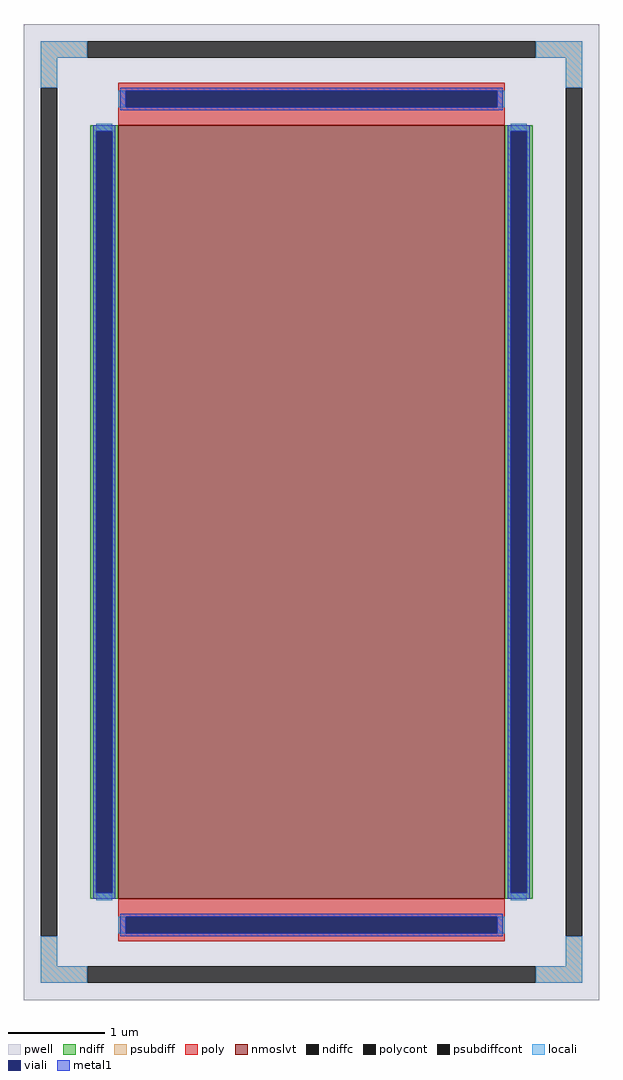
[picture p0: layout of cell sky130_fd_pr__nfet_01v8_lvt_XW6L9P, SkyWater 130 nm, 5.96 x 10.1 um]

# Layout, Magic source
magic
tech sky130A
<< pwell >>
rect -298 -505 298 505
<< nmoslvt >>
rect -200 -400 200 400
<< ndiff >>
rect -229 394 -200 400
rect -229 -394 -223 394
rect -206 -394 -200 394
rect -229 -400 -200 -394
rect 200 394 229 400
rect 200 -394 206 394
rect 223 -394 229 394
rect 200 -400 229 -394
<< ndiffc >>
rect -223 -394 -206 394
rect 206 -394 223 394
<< psubdiff >>
rect -280 470 -232 487
rect 232 470 280 487
rect -280 439 -263 470
rect 263 439 280 470
rect -280 -470 -263 -439
rect 263 -470 280 -439
rect -280 -487 -232 -470
rect 232 -487 280 -470
<< psubdiffcont >>
rect -232 470 232 487
rect -280 -439 -263 439
rect 263 -439 280 439
rect -232 -487 232 -470
<< poly >>
rect -200 436 200 444
rect -200 419 -192 436
rect 192 419 200 436
rect -200 400 200 419
rect -200 -419 200 -400
rect -200 -436 -192 -419
rect 192 -436 200 -419
rect -200 -444 200 -436
<< polycont >>
rect -192 419 192 436
rect -192 -436 192 -419
<< locali >>
rect -280 470 -232 487
rect 232 470 280 487
rect -280 439 -263 470
rect 263 439 280 470
rect -200 419 -192 436
rect 192 419 200 436
rect -223 394 -206 402
rect -223 -402 -206 -394
rect 206 394 223 402
rect 206 -402 223 -394
rect -200 -436 -192 -419
rect 192 -436 200 -419
rect -280 -470 -263 -439
rect 263 -470 280 -439
rect -280 -487 -232 -470
rect 232 -487 280 -470
<< viali >>
rect -192 419 192 436
rect -223 -394 -206 394
rect 206 -394 223 394
rect -192 -436 192 -419
<< metal1 >>
rect -198 436 198 439
rect -198 419 -192 436
rect 192 419 198 436
rect -198 416 198 419
rect -226 394 -203 400
rect -226 -394 -223 394
rect -206 -394 -203 394
rect -226 -400 -203 -394
rect 203 394 226 400
rect 203 -394 206 394
rect 223 -394 226 394
rect 203 -400 226 -394
rect -198 -419 198 -416
rect -198 -436 -192 -419
rect 192 -436 198 -419
rect -198 -439 198 -436
<< properties >>
string FIXED_BBOX -271 -478 271 478
string gencell sky130_fd_pr__nfet_01v8_lvt
string library sky130
string parameters w 8.0 l 4.0 m 1 nf 1 diffcov 100 polycov 100 guard 1 glc 1 grc 1 gtc 1 gbc 1 tbcov 100 rlcov 100 topc 1 botc 1 poverlap 0 doverlap 1 lmin 0.15 wmin 0.42 compatible {sky130_fd_pr__nfet_01v8 sky130_fd_pr__nfet_01v8_lvt  sky130_fd_bs_flash__special_sonosfet_star  sky130_fd_pr__nfet_g5v0d10v5 sky130_fd_pr__nfet_05v0_nvt  sky130_fd_pr__nfet_03v3_nvt} full_metal 1 viasrc 100 viadrn 100 viagate 100 viagb 0 viagr 0 viagl 0 viagt 0
<< end >>
